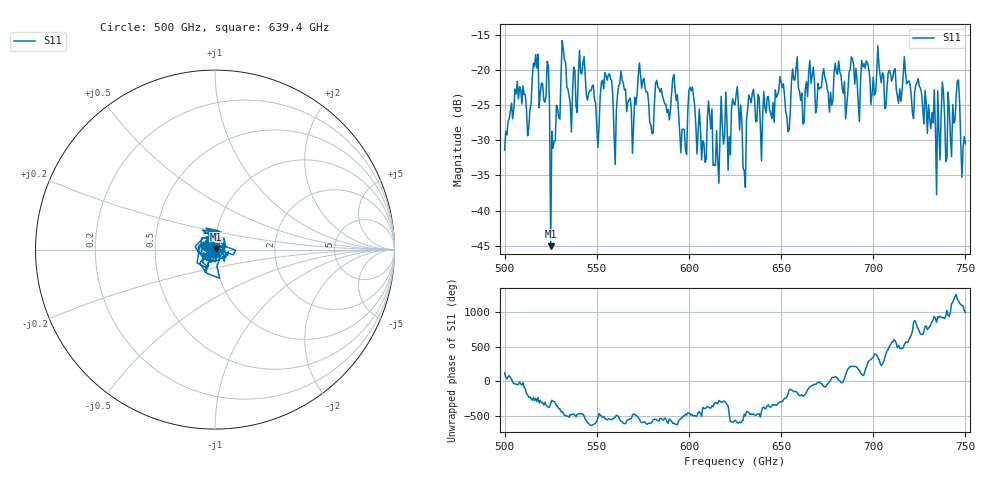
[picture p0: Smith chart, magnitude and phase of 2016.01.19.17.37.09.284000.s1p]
!Created with skrf (http://scikit-rf.org).
# GHz S RI R 50.0
!freq ReS11 ImS11
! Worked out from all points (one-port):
!   401 points, 500 GHz to 750 GHz, reference 50 ohm
!   lowest |S11| = -45.1 dB at 525 GHz (marker M1), VSWR 1.01, Z = 50.5 + j0.317 ohm
!   |S11| at or under -10 dB: start of sweep to end of sweep
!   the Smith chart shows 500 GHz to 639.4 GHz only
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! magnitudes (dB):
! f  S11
! 500 GHz  -31.4
! 506.9 GHz  -21.7
! 513.1 GHz  -28.2
! 516.9 GHz  -17.8
! 523.1 GHz  -18.8
! 525 GHz  -45.1
! 526.2 GHz  -31.1
! 531.2 GHz  -15.8
! 535.6 GHz  -24.8
! 541.9 GHz  -20.6
! 550 GHz  -27.9
! 562.5 GHz  -22.0
! 593.8 GHz  -23.5
! 597.5 GHz  -28.5
! 601.2 GHz  -23.0
! 608.1 GHz  -30.4
! 611.2 GHz  -26.4
! 615 GHz  -28.6
! 625 GHz  -25.0
! 630 GHz  -34.3
! 633.8 GHz  -24.7
! 653.8 GHz  -28.8
! 656.2 GHz  -19.9
! 687.5 GHz  -19.9
! 718.8 GHz  -21.7
! 735 GHz  -23.0
! 745.6 GHz  -21.6
! 750 GHz  -30.5
